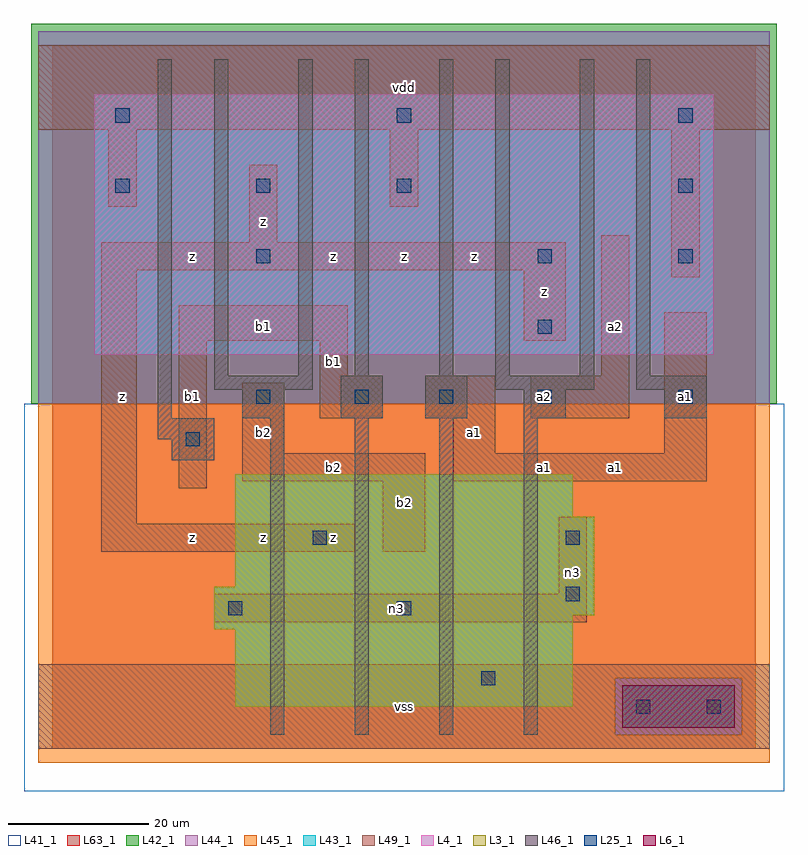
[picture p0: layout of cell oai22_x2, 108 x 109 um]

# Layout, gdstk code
import gdstk
lib = gdstk.Library(unit=1e-6, precision=1e-09)
def R(c, l, rs):  # rectangles x0, y0, x1, y1
    for r in rs: c.add(gdstk.rectangle(r[:2], r[2:], *l))
def A(c, l, x, y, w, h, nx, ny, dx, dy):  # array of equal rectangles
    R(c, l, [(x+i*dx, y+j*dy, x+i*dx+w, y+j*dy+h) for i in range(nx) for j in range(ny)])
L3_1 = (3, 1)
L4_1 = (4, 1)
L6_1 = (6, 1)
L25_1 = (25, 1)
L41_1 = (41, 1)
L42_1 = (42, 1)
L43_1 = (43, 1)
L44_1 = (44, 1)
L45_1 = (45, 1)
L46_1 = (46, 1)
L49_1 = (49, 1)
L63_1 = (63, 1)

oai22_x2 = lib.new_cell('oai22_x2')
R(oai22_x2, L3_1, [(26,6,74,17), (23,17,74,19), (23,19,77,23), (26,23,77,33), (26,33,74,39)])
R(oai22_x2, L4_1, [(6,56,94,93)])
R(oai22_x2, L6_1, [(81,3,97,9)])
A(oai22_x2, L25_1, 69, 49, 2, 2, 1, 3, 0, 10)
A(oai22_x2, L25_1, 9, 79, 2, 2, 3, 1, 20, 0)
A(oai22_x2, L25_1, 9, 89, 2, 2, 3, 1, 40, 0)
R(oai22_x2, L25_1, [(83,5,85,7), (93,5,95,7), (61,9,63,11), (25,19,27,21), (49,19,51,21), (73,21,75,23), (37,29,39,31), (73,29,75,31), (19,43,21,45), (29,49,31,51), (43,49,45,51), (55,49,57,51), (89,49,91,51), (29,69,31,71), (89,69,91,71), (89,79,91,81)])
R(oai22_x2, L41_1, [(-4,-6,104,49), (-3,-3,103,49)])
R(oai22_x2, L42_1, [(-3,49,103,103)])
R(oai22_x2, L43_1, [(81,3,97,9), (26,6,74,17), (23,17,74,19), (23,19,77,23), (26,23,77,33), (26,33,74,39), (6,56,94,93)])
R(oai22_x2, L44_1, [(80,2,98,10), (-2,49,102,102)])
R(oai22_x2, L45_1, [(-2,-2,102,2), (-2,2,80,10), (98,2,102,10), (-2,10,102,49)])
A(oai22_x2, L46_1, 31, 2, 2, 45, 4, 1, 12, 0)
R(oai22_x2, L46_1, [(17,41,23,44), (15,44,23,47), (15,47,17,98), (27,47,33,51), (41,47,47,53), (53,47,59,53), (67,47,73,51), (87,47,93,51), (23,51,37,53), (63,51,77,53), (83,51,93,53), (23,53,25,98), (35,53,37,98), (43,53,45,98), (55,53,57,98), (63,53,65,98), (75,53,77,98), (83,53,85,98)])
R(oai22_x2, L49_1, [(-2,0,102,12), (23,18,76,22), (72,22,76,33), (7,28,43,32), (47,28,53,38), (7,32,12,68), (18,37,22,58), (27,38,53,42), (57,38,93,42), (27,42,33,52), (57,42,63,47), (87,42,93,62), (38,47,47,53), (53,47,63,53), (68,47,82,53), (38,53,42,58), (78,53,82,73), (18,58,42,63), (67,58,73,68), (88,67,92,88), (7,68,73,72), (28,72,32,83), (8,77,12,88), (48,77,52,88), (-2,88,102,100)])
R(oai22_x2, L63_1, [(0,0,100,100)])
oai22_x2.add(gdstk.Label('z', (10,50), layer=49, texttype=1))
oai22_x2.add(gdstk.Label('z', (10,50), layer=49, texttype=1))
oai22_x2.add(gdstk.Label('z', (20,30), layer=49, texttype=1))
oai22_x2.add(gdstk.Label('z', (20,30), layer=49, texttype=1))
oai22_x2.add(gdstk.Label('z', (30,30), layer=49, texttype=1))
oai22_x2.add(gdstk.Label('z', (30,30), layer=49, texttype=1))
oai22_x2.add(gdstk.Label('b1', (20,50), layer=49, texttype=1))
oai22_x2.add(gdstk.Label('b1', (20,50), layer=49, texttype=1))
oai22_x2.add(gdstk.Label('b2', (30,45), layer=49, texttype=1))
oai22_x2.add(gdstk.Label('b2', (30,45), layer=49, texttype=1))
oai22_x2.add(gdstk.Label('b1', (30,60), layer=49, texttype=1))
oai22_x2.add(gdstk.Label('b1', (30,60), layer=49, texttype=1))
oai22_x2.add(gdstk.Label('z', (20,70), layer=49, texttype=1))
oai22_x2.add(gdstk.Label('z', (20,70), layer=49, texttype=1))
oai22_x2.add(gdstk.Label('z', (30,75), layer=49, texttype=1))
oai22_x2.add(gdstk.Label('z', (30,75), layer=49, texttype=1))
oai22_x2.add(gdstk.Label('vss', (50,6), layer=49, texttype=1))
oai22_x2.add(gdstk.Label('vss', (50,6), layer=49, texttype=1))
oai22_x2.add(gdstk.Label('z', (40,30), layer=49, texttype=1))
oai22_x2.add(gdstk.Label('z', (40,30), layer=49, texttype=1))
oai22_x2.add(gdstk.Label('b2', (50,35), layer=49, texttype=1))
oai22_x2.add(gdstk.Label('b2', (50,35), layer=49, texttype=1))
oai22_x2.add(gdstk.Label('b2', (40,40), layer=49, texttype=1))
oai22_x2.add(gdstk.Label('b2', (40,40), layer=49, texttype=1))
oai22_x2.add(gdstk.Label('b1', (40,55), layer=49, texttype=1))
oai22_x2.add(gdstk.Label('b1', (40,55), layer=49, texttype=1))
oai22_x2.add(gdstk.Label('z', (40,70), layer=49, texttype=1))
oai22_x2.add(gdstk.Label('z', (40,70), layer=49, texttype=1))
oai22_x2.add(gdstk.Label('z', (50,70), layer=49, texttype=1))
oai22_x2.add(gdstk.Label('z', (50,70), layer=49, texttype=1))
oai22_x2.add(gdstk.Label('vdd', (50,94), layer=49, texttype=1))
oai22_x2.add(gdstk.Label('vdd', (50,94), layer=49, texttype=1))
oai22_x2.add(gdstk.Label('n3', (74,25), layer=49, texttype=1))
oai22_x2.add(gdstk.Label('n3', (49,20), layer=49, texttype=1))
oai22_x2.add(gdstk.Label('a1', (70,40), layer=49, texttype=1))
oai22_x2.add(gdstk.Label('a1', (70,40), layer=49, texttype=1))
oai22_x2.add(gdstk.Label('a1', (60,45), layer=49, texttype=1))
oai22_x2.add(gdstk.Label('a1', (60,45), layer=49, texttype=1))
oai22_x2.add(gdstk.Label('a2', (70,50), layer=49, texttype=1))
oai22_x2.add(gdstk.Label('a2', (70,50), layer=49, texttype=1))
oai22_x2.add(gdstk.Label('z', (60,70), layer=49, texttype=1))
oai22_x2.add(gdstk.Label('z', (60,70), layer=49, texttype=1))
oai22_x2.add(gdstk.Label('z', (70,65), layer=49, texttype=1))
oai22_x2.add(gdstk.Label('z', (70,65), layer=49, texttype=1))
oai22_x2.add(gdstk.Label('a1', (80,40), layer=49, texttype=1))
oai22_x2.add(gdstk.Label('a1', (80,40), layer=49, texttype=1))
oai22_x2.add(gdstk.Label('a1', (90,50), layer=49, texttype=1))
oai22_x2.add(gdstk.Label('a1', (90,50), layer=49, texttype=1))
oai22_x2.add(gdstk.Label('a2', (80,60), layer=49, texttype=1))
oai22_x2.add(gdstk.Label('a2', (80,60), layer=49, texttype=1))

lib.write_gds('oai22_x2.gds')
